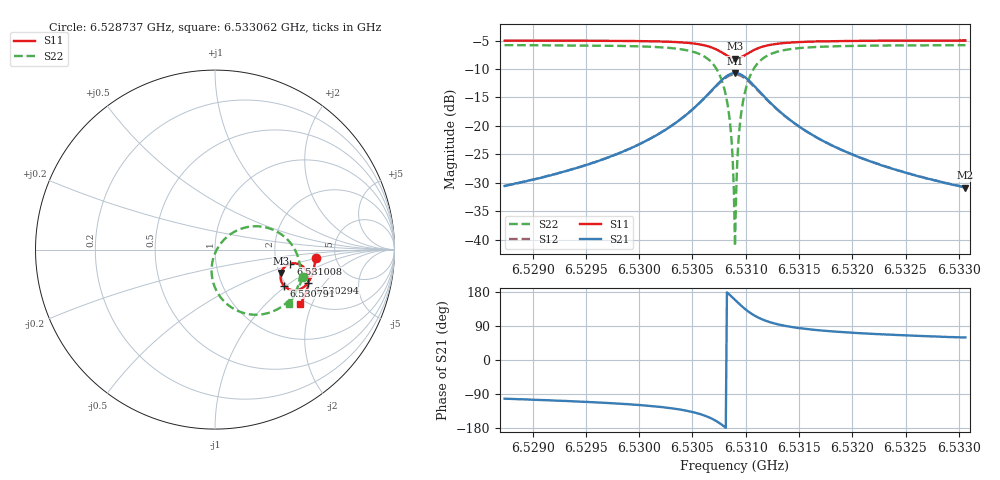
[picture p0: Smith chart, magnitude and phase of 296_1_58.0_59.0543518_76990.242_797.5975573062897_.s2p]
#  HZ  S  RI  R  50.00
! Rohde & Schwarz Vector Network Analyzer
! Rohde-Schwarz,ZNB20-2Port,1311601062101988,3.16
! Created: UTC 3/21/2024, 1:03:29 AM
! freq[Hz]  re:S11  im:S11  re:S21  im:S21  re:S12  im:S12  re:S22  im:S22
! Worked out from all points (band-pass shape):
!   401 points, 6.528737 GHz to 6.533062 GHz, reference 50 ohm
!   highest |S21| = -10.70 dB at 6.5309 GHz (marker M1); lowest = -30.9 dB at 6.533062 GHz (marker M2)
!   |S21| within 3 dB of the highest: 6.530683 GHz to 6.531117 GHz (433.5 kHz wide, 0.00664 % of centre)
!   lowest |S11| = -8.2 dB at 6.5309 GHz (marker M3), VSWR 2.28, Z = 102 - j31.2 ohm
!   |S11| at or under -10 dB: nowhere
!   |S22| runs from -41.1 to -5.8 dB; largest |S21 - S12| = 0.011
!   S11 on the Smith chart (normalised r, x): 6.528737 GHz: 3.50, -0.46; 6.530294 GHz: 2.59, -1.39; 6.530791 GHz: 1.93, -0.96; 6.531008 GHz: 2.39, -0.46; 6.533062 GHz: 1.85, -1.65
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6.5287374e9  0.5599 -0.0448  -0.00619 -0.029  -0.00676 -0.0289  0.489 -0.1542
6.5294617e9  0.5509 -0.1046  -0.0151 -0.0415  -0.016 -0.0411  0.4599 -0.2195
6.530186e9  0.5243 -0.1753  -0.047 -0.0711  -0.0489 -0.07  0.3822 -0.3101
6.5302941e9  0.5155 -0.188  -0.0595 -0.0789  -0.0617 -0.0773  0.356 -0.328
6.5306293e9  0.4528 -0.2261  -0.1555 -0.096  -0.1575 -0.0897  0.1748 -0.3572
6.5307266e9  0.4133 -0.2214  -0.2163 -0.0719  -0.2159 -0.0631  0.0719 -0.3077
6.5307914e9  0.384 -0.2011  -0.2595 -0.027  -0.2552 -0.0174  0.00614 -0.225
6.5308455e9  0.3672 -0.1696  -0.2809 0.0339  -0.2728 0.0418  -0.0192 -0.1204
6.5308671e9  0.365 -0.1539  -0.2817 0.0625  -0.2724 0.0689  -0.0155 -0.0735
6.5308779e9  0.365 -0.146  -0.2798 0.0771  -0.2702 0.0825  -0.0101 -0.0498
6.5308887e9  0.366 -0.138  -0.2767 0.0914  -0.2668 0.0962  -0.00246 -0.0268
6.5308995e9  0.3679 -0.13  -0.272 0.1056  -0.2619 0.1094  0.00756 -0.00444
6.5309103e9  0.3705 -0.1223  -0.266 0.1192  -0.2559 0.1219  0.0198 0.0168
6.5309211e9  0.3741 -0.1151  -0.2587 0.1322  -0.2487 0.134  0.0339 0.0366
6.530932e9  0.3783 -0.1083  -0.2501 0.1442  -0.2404 0.1452  0.0496 0.0547
6.5309536e9  0.3886 -0.0963  -0.2305 0.1649  -0.2213 0.1645  0.0857 0.0853
6.5310076e9  0.42 -0.0786  -0.1733 0.196  -0.1668 0.1932  0.1848 0.1263
6.5310833e9  0.4608 -0.0789  -0.1017 0.1985  -0.0982 0.1958  0.3051 0.1175
6.5311914e9  0.4965 -0.1005  -0.0398 0.1695  -0.0381 0.168  0.4053 0.0543
6.5316238e9  0.5214 -0.1789  0.0142 0.0822  0.0153 0.082  0.4749 -0.1298
6.5323482e9  0.5022 -0.2512  0.0168 0.0395  0.0174 0.0392  0.447 -0.244
6.5330617e9  0.4749 -0.3039  0.0145 0.0247  0.0153 0.0244  0.412 -0.3048
